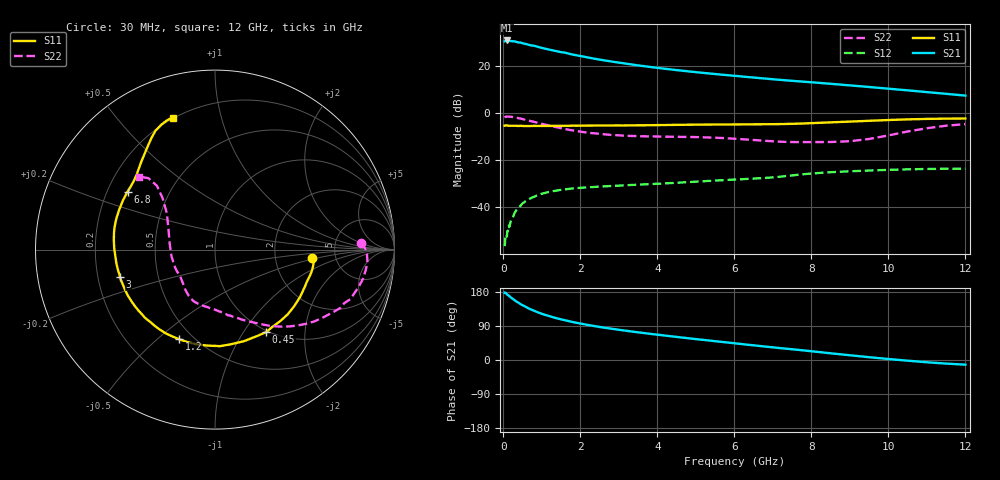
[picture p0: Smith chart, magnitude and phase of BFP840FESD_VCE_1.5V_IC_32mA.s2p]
! Infineon Technologies  Discrete & RF Semiconductors
! BFP840FESD
! VCE =  1.5 V,  IC =  32 mA
! Common Emitter S-Parameters:  May 2012
# GHz  S  MA  R  50
!  f  S11  S21  S12  S22
! GHz  MAG  ANG  MAG  ANG  MAG  ANG  MAG  ANG
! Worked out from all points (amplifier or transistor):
!   103 points, 30 MHz to 12 GHz, reference 50 ohm
!   highest |S21| = 30.9 dB at 80 MHz (marker M1)
!   |S21| within 3 dB of that: start of sweep to 961.3 MHz
!   unconditionally stable (mu >= 1): start of sweep to 99.96 MHz; 3.722 GHz to end of sweep
!   at 400 MHz: K = 0.43, MSG = 35.0 dB, |S12| = -40.0 dB
!   at 3.7 GHz: K = 1.00, MSG = 25.1 dB, |S12| = -30.2 dB
!   at 12 GHz: K = 1.20, MAG = 12.8 dB, |S12| = -23.6 dB
!   S11 on the Smith chart (normalised r, x): 30 MHz: 3.32, -0.42; 450 MHz: 0.98, -1.27; 1.2 GHz: 0.42, -0.59; 3 GHz: 0.29, -0.13; 6.8 GHz: 0.28, +0.28; 12 GHz: 0.19, +0.71
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0.03  0.5427 -4.7  33.71 177.2  0.0015 85.7  0.8123 2.6
0.05  0.5539 -7.3  34.74 177.4  0.0025 94.3  0.8346 0.7
0.08  0.5529 -11.9  35.18 174.6  0.0026 79.4  0.8477 -2.1
0.2  0.5425 -29.2  34.08 164.3  0.0055 75.7  0.8404 -11.1
0.3  0.5425 -41.7  33.44 157.0  0.0079 71.7  0.8146 -17.1
0.45  0.541 -58.2  31.6 147.0  0.011 66.1  0.7715 -24.8
0.7  0.535 -81.0  27.8 134.0  0.0155 59.0  0.6842 -35.7
0.8  0.5386 -87.0  27.13 129.7  0.0169 56.4  0.6543 -39.2
1  0.5382 -101.0  24.44 121.8  0.0195 51.9  0.596 -45.9
1.2  0.5377 -111.8  22.4 115.6  0.0214 48.2  0.545 -51.7
1.5  0.5413 -124.9  19.84 107.2  0.0236 43.9  0.4805 -59.3
1.6  0.5414 -127.8  19.41 104.9  0.0242 42.5  0.4621 -61.7
1.8  0.5446 -135.8  17.6 100.2  0.0253 40.8  0.4317 -66.7
2.1  0.5459 -144.5  15.86 94.2  0.0264 38.5  0.3952 -73.0
2.5  0.5486 -154.3  13.79 87.2  0.0277 36.9  0.3649 -80.3
3  0.5509 -163.8  11.89 79.7  0.029 36.2  0.3386 -88.3
4.1  0.5613 179.5  9 65.6  0.032 37.0  0.3194 -102.6
6.1  0.5783 155.5  6.148 43.1  0.0394 39.3  0.2844 -124.0
6.8  0.5844 146.5  5.452 35.4  0.0423 40.9  0.2598 -133.4
8.5  0.6403 129.8  4.223 17.7  0.0559 37.6  0.245 -170.6
10.5  0.7414 116.5  3.066 -1.8  0.0643 28.9  0.4095 135.5
12  0.7725 107.8  2.369 -12.3  0.0664 25.2  0.5872 136.1
